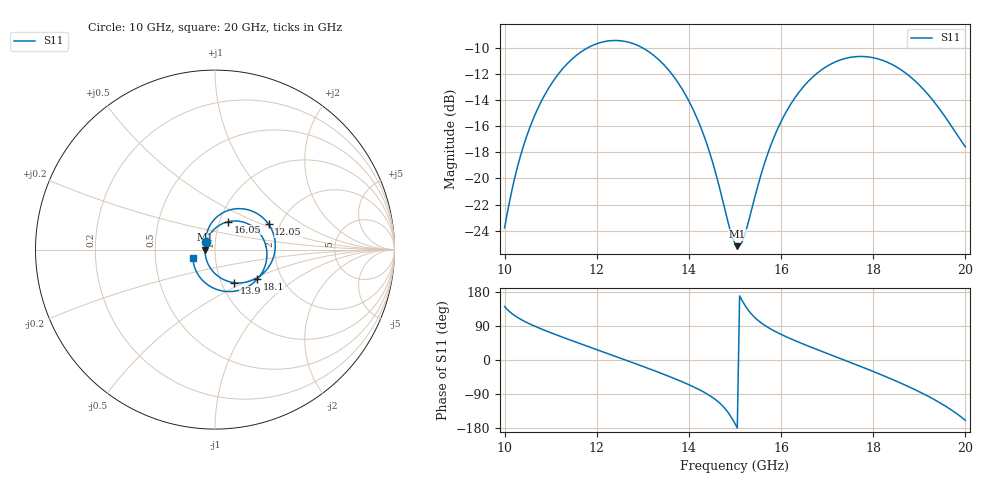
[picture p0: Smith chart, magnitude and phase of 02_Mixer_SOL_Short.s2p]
! Synthetic calibration acquisition fixture: NOT a frequency-converting S2P model.
! RF=10..20 GHz; LO=5 GHz; IF=RF-LO. 201 points, 50 MHz step.
! Only S11 is meaningful. S21=S12=S22=0 are unused matched/isolated placeholders.
! Use ideal Open(+1), Short(-1), Load(0), zero offsets, Z0=50 ohm.
! Order: frequency_Hz S11_Re S11_Im S21_Re S21_Im S12_Re S12_Im S22_Re S22_Im
# Hz S RI R 50
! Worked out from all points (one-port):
!   201 points, 10 GHz to 20 GHz, reference 50 ohm
!   lowest |S11| = -25.2 dB at 15.05 GHz (marker M1), VSWR 1.12, Z = 44.8 - j0.0574 ohm
!   |S11| at or under -10 dB: start of sweep to 11.8 GHz; 13 GHz to end of sweep
!   S11 on the Smith chart (normalised r, x): 10 GHz: 0.90, +0.07; 12.05 GHz: 1.74, +0.55; 13.9 GHz: 1.15, -0.44; 16.05 GHz: 1.10, +0.35; 18.1 GHz: 1.50, -0.54; 20 GHz: 0.78, -0.07
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1e10  -0.0504 0.0405  0 0  0 0  0 0
1.03e10  -0.0406 0.1068  0 0  0 0  0 0
1.07e10  0.0102 0.1817  0 0  0 0  0 0
1.12e10  0.117 0.2273  0 0  0 0  0 0
1.17e10  0.2348 0.2006  0 0  0 0  0 0
1.205e10  0.2991 0.1407  0 0  0 0  0 0
1.27e10  0.3318 -0.0196  0 0  0 0  0 0
1.335e10  0.2391 -0.1545  0 0  0 0  0 0
1.39e10  0.1068 -0.1843  0 0  0 0  0 0
1.44e10  -0.000112 -0.1337  0 0  0 0  0 0
1.5e10  -0.055 -0.0118  0 0  0 0  0 0
1.505e10  -0.055 -0.000639  0 0  0 0  0 0
1.52e10  -0.0506 0.0321  0 0  0 0  0 0
1.565e10  -0.00209 0.1155  0 0  0 0  0 0
1.605e10  0.0735 0.1554  0 0  0 0  0 0
1.67e10  0.2098 0.1284  0 0  0 0  0 0
1.74e10  0.2884 -0.0077  0 0  0 0  0 0
1.81e10  0.2346 -0.1659  0 0  0 0  0 0
1.835e10  0.1853 -0.2053  0 0  0 0  0 0
1.91e10  0.000486 -0.2186  0 0  0 0  0 0
1.96e10  -0.0945 -0.1392  0 0  0 0  0 0
2e10  -0.1233 -0.0472  0 0  0 0  0 0
